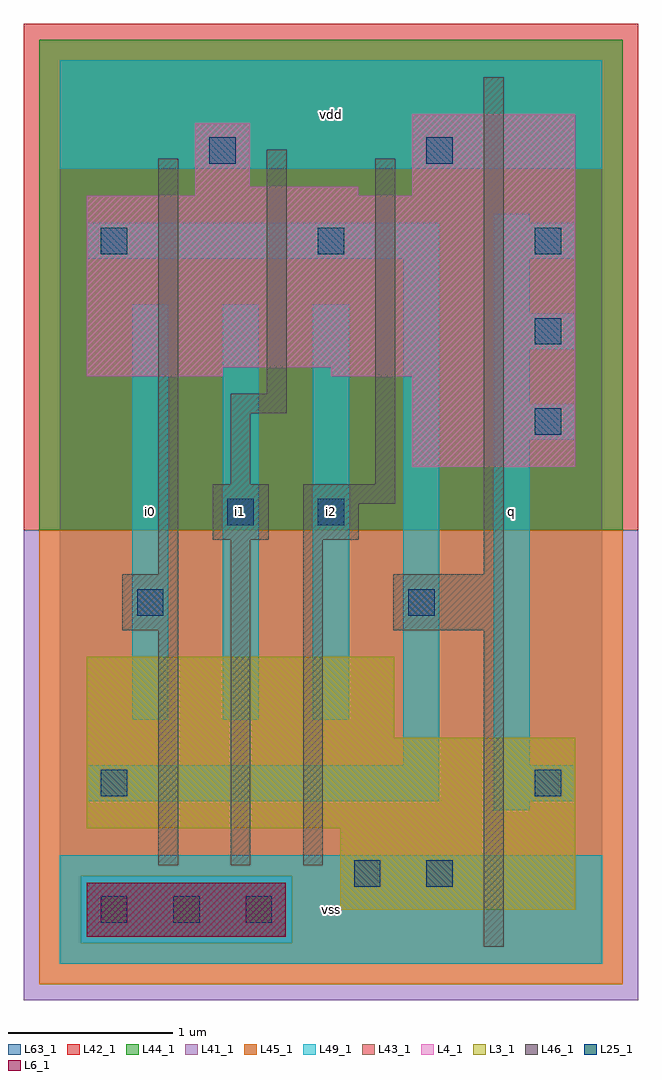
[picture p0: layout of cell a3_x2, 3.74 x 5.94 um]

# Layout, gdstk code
import gdstk
lib = gdstk.Library(unit=1e-6, precision=1e-09)
def R(c, l, rs):  # rectangles x0, y0, x1, y1
    for r in rs: c.add(gdstk.rectangle(r[:2], r[2:], *l))
def A(c, l, x, y, w, h, nx, ny, dx, dy):  # array of equal rectangles
    R(c, l, [(x+i*dx, y+j*dy, x+i*dx+w, y+j*dy+h) for i in range(nx) for j in range(ny)])
L3_1 = (3, 1)
L4_1 = (4, 1)
L6_1 = (6, 1)
L25_1 = (25, 1)
L41_1 = (41, 1)
L42_1 = (42, 1)
L43_1 = (43, 1)
L44_1 = (44, 1)
L45_1 = (45, 1)
L46_1 = (46, 1)
L49_1 = (49, 1)
L63_1 = (63, 1)

a3_x2 = lib.new_cell('a3_x2')
R(a3_x2, L3_1, [(1.705,0.33,3.135,0.825), (0.165,0.825,3.135,1.375), (0.165,1.375,2.035,1.87)])
R(a3_x2, L4_1, [(2.145,3.025,3.135,3.575), (0.165,3.575,0.99,3.63), (1.65,3.575,3.135,3.63), (0.165,3.63,3.135,4.675), (0.825,4.675,1.815,4.73), (2.145,4.675,3.135,5.17), (0.825,4.73,1.155,5.115)])
R(a3_x2, L6_1, [(0.165,0.165,1.375,0.495)])
A(a3_x2, L25_1, 0.25, 0.25, 0.16, 0.16, 3, 1, 0.44, 0)
A(a3_x2, L25_1, 0.25, 4.32, 0.16, 0.16, 3, 1, 1.32, 0)
R(a3_x2, L25_1, [(1.79,0.47,1.95,0.63), (2.23,0.47,2.39,0.63), (0.25,1.02,0.41,1.18), (2.89,1.02,3.05,1.18), (0.47,2.12,0.63,2.28), (2.12,2.12,2.28,2.28), (1.02,2.67,1.18,2.83), (1.57,2.67,1.73,2.83), (2.89,3.22,3.05,3.38), (2.89,3.77,3.05,3.93), (0.91,4.87,1.07,5.03), (2.23,4.87,2.39,5.03)])
R(a3_x2, L41_1, [(-0.22,-0.22,3.52,2.64)])
R(a3_x2, L42_1, [(-0.22,2.64,3.52,5.72)])
R(a3_x2, L43_1, [(0.165,0.165,1.375,0.495), (1.705,0.33,3.135,0.825), (0.165,0.825,3.135,1.375), (0.165,1.375,2.035,1.87), (2.145,3.025,3.135,3.575), (0.165,3.575,0.99,3.63), (1.65,3.575,3.135,3.63), (0.165,3.63,3.135,4.675), (0.825,4.675,1.815,4.73), (2.145,4.675,3.135,5.17), (0.825,4.73,1.155,5.115)])
R(a3_x2, L44_1, [(0.125,0.125,1.415,0.535), (-0.125,2.64,3.425,5.625)])
R(a3_x2, L45_1, [(-0.125,-0.125,3.425,0.125), (-0.125,0.125,0.125,0.535), (1.415,0.125,3.425,0.535), (-0.125,0.535,3.425,2.64)])
R(a3_x2, L46_1, [(2.58,0.105,2.7,2.03), (0.6,0.6,0.72,2.03), (1.04,0.6,1.16,2.58), (1.48,0.6,1.6,2.58), (0.38,2.03,0.72,2.37), (2.03,2.03,2.7,2.37), (0.6,2.37,0.72,4.9), (2.58,2.37,2.7,5.395), (0.93,2.58,1.27,2.92), (1.48,2.58,1.82,2.8), (1.48,2.8,2.04,2.92), (1.04,2.92,1.16,3.35), (1.92,2.92,2.04,4.9), (1.04,3.35,1.38,3.47), (1.26,3.47,1.38,4.955)])
A(a3_x2, L49_1, 0.44, 1.485, 0.22, 2.53, 3, 1, 0.55, 0)
A(a3_x2, L49_1, 2.64, 3.19, 0.495, 0.22, 1, 3, 0, 0.55)
R(a3_x2, L49_1, [(0,0,3.3,0.66), (2.64,0.935,2.86,0.99), (0.165,0.99,2.31,1.21), (2.64,0.99,3.135,1.21), (2.09,1.21,2.31,4.29), (2.64,1.21,2.86,3.19), (2.64,3.41,2.86,3.74), (2.64,3.96,2.86,4.29), (0.165,4.29,2.31,4.51), (2.64,4.51,2.86,4.565), (0,4.84,3.3,5.5)])
R(a3_x2, L63_1, [(0,0,3.3,5.5)])
a3_x2.add(gdstk.Label('i0', (0.55,2.75), layer=49, texttype=1))
a3_x2.add(gdstk.Label('i1', (1.1,2.75), layer=49, texttype=1))
a3_x2.add(gdstk.Label('vss', (1.65,0.33), layer=49, texttype=1))
a3_x2.add(gdstk.Label('i2', (1.65,2.75), layer=49, texttype=1))
a3_x2.add(gdstk.Label('vdd', (1.65,5.17), layer=49, texttype=1))
a3_x2.add(gdstk.Label('q', (2.75,2.75), layer=49, texttype=1))

lib.write_gds('a3_x2.gds')
